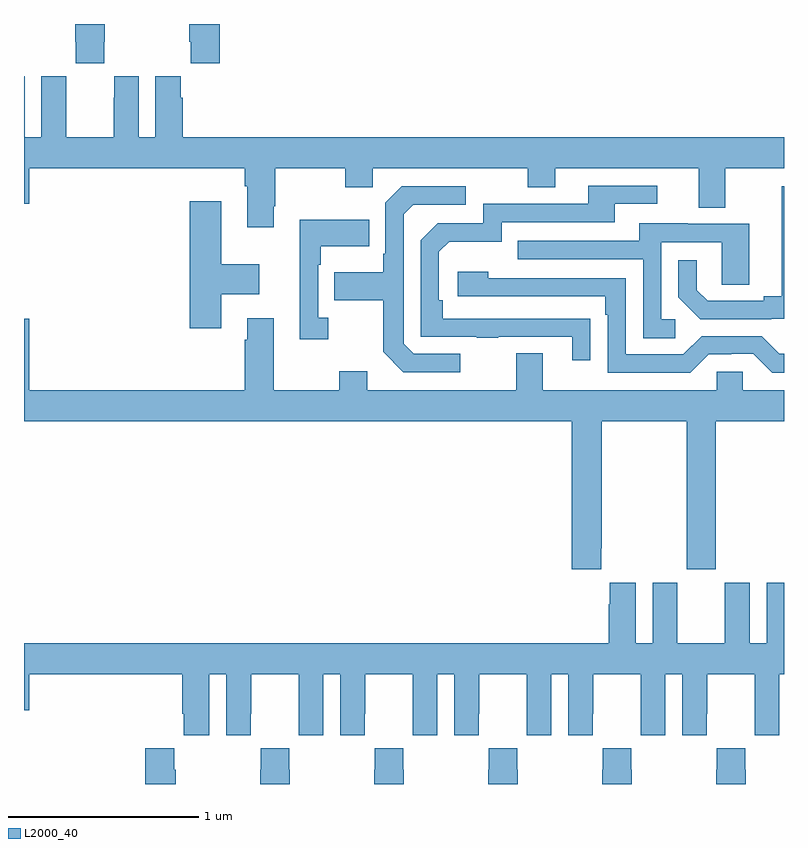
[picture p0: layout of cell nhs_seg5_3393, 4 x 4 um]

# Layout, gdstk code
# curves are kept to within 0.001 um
import gdstk
lib = gdstk.Library(unit=1e-6, precision=1e-09)
def P(c, l, *ps):  # polygons
    for p in ps: c.add(gdstk.Polygon(p, *l))
L2000_40 = (2000, 40)

nhs_seg5_3393 = lib.new_cell('nhs_seg5_3393')
P(nhs_seg5_3393, L2000_40, [(309.423,910.705),(309.426,910.705),(309.426,910.799),(309.271,910.799),(309.271,910.705),(309.273,910.705),(309.273,910.593),(309.423,910.593)],
  [(310.031,910.799),(309.871,910.799),(309.871,910.705),(309.877,910.705),(309.877,910.593),(310.031,910.593)],
  [(310.315,909.841),(310.323,909.841),(310.323,910.04),(310.69,910.04),(310.69,909.941),(310.836,909.941),(310.836,910.04),(311.65,910.04),(311.65,909.941),(311.797,909.941),(311.797,910.04),(312.551,910.04),(312.551,909.832),(312.691,909.832),(312.691,910.04),(313,910.04),(313,910.204),(309.836,910.204),(309.836,910.412),(309.826,910.412),(309.826,910.525),(309.692,910.525),(309.692,910.204),(309.604,910.204),(309.604,910.525),(309.474,910.525),(309.474,910.412),(309.473,910.412),(309.473,910.204),(309.223,910.204),(309.223,910.412),(309.222,910.412),(309.222,910.525),(309.092,910.525),(309.092,910.204),(309.004,910.204),(309.004,910.525),(309,910.525),(309,909.852),(309.028,909.852),(309.028,910.04),(310.163,910.04),(310.163,909.944),(310.175,909.944),(310.175,909.729),(310.315,909.729)],
  [(311.981,909.248),(311.204,909.249),(311.204,909.346),(311.184,909.346),(311.184,909.6),(311.237,909.653),(311.514,909.653),(311.514,909.756),(312.109,909.756),(312.109,909.852),(312.334,909.852),(312.334,909.948),(311.969,909.948),(311.969,909.852),(311.418,909.852),(311.418,909.75),(311.178,909.75),(311.088,909.66),(311.088,909.153),(311.383,909.153),(311.383,909.148),(311.495,909.148),(311.495,909.153),(311.885,909.153),(311.885,909.03),(311.981,909.03)],
  [(311.296,909.063),(311.052,909.063),(310.998,909.117),(310.998,909.798),(311.049,909.849),(311.326,909.849),(311.326,909.945),(310.989,909.945),(310.902,909.858),(310.902,909.589),(310.89,909.589),(310.89,909.493),(310.633,909.493),(310.633,909.346),(310.89,909.346),(310.89,909.073),(310.995,908.967),(311.296,908.967)],
  [(312.932,909.249),(313,909.249),(313,909.945),(312.989,909.945),(312.989,909.365),(312.893,909.365),(312.893,909.342),(312.598,909.342),(312.541,909.399),(312.541,909.556),(312.444,909.556),(312.444,909.362),(312.56,909.246),(312.932,909.246)],
  [(310.039,909.377),(310.237,909.377),(310.237,909.535),(310.039,909.535),(310.039,909.865),(309.872,909.865),(309.872,909.198),(310.039,909.198)],
  [(310.6,909.254),(310.548,909.254),(310.548,909.533),(310.561,909.533),(310.561,909.629),(310.817,909.629),(310.817,909.769),(310.451,909.769),(310.451,909.141),(310.6,909.141)],
  [(312.427,909.246),(312.354,909.246),(312.354,909.651),(312.672,909.651),(312.672,909.427),(312.817,909.427),(312.817,909.747),(312.493,909.747),(312.493,909.751),(312.239,909.751),(312.239,909.657),(311.599,909.657),(311.599,909.561),(312.258,909.561),(312.258,909.145),(312.427,909.145)],
  [(313,909.063),(312.975,909.063),(312.882,909.156),(312.567,909.156),(312.471,909.06),(312.168,909.06),(312.168,909.462),(311.444,909.462),(311.444,909.496),(311.283,909.496),(311.283,909.366),(312.059,909.366),(312.059,909.269),(312.072,909.269),(312.072,908.964),(312.507,908.964),(312.603,909.06),(312.722,909.06),(312.722,909.063),(312.837,909.063),(312.937,908.963),(313,908.963)],
  [(312.037,908.041),(312.042,908.041),(312.042,908.708),(312.487,908.708),(312.487,907.929),(312.642,907.929),(312.642,908.708),(313,908.708),(313,908.872),(312.783,908.872),(312.783,908.97),(312.645,908.97),(312.645,908.872),(311.731,908.872),(311.731,909.067),(311.591,909.067),(311.591,908.872),(310.807,908.872),(310.807,908.971),(310.66,908.971),(310.66,908.872),(310.315,908.872),(310.315,909.25),(310.175,909.25),(310.175,909.137),(310.163,909.137),(310.163,908.872),(309.028,908.872),(309.028,909.247),(309,909.247),(309,908.708),(311.882,908.708),(311.882,907.929),(312.037,907.929)],
  [(309,907.188),(309.028,907.188),(309.028,907.376),(309.833,907.376),(309.833,907.168),(309.842,907.168),(309.842,907.056),(309.976,907.056),(309.976,907.376),(310.064,907.376),(310.064,907.056),(310.194,907.056),(310.194,907.168),(310.195,907.168),(310.195,907.376),(310.445,907.376),(310.445,907.168),(310.446,907.168),(310.446,907.056),(310.576,907.056),(310.576,907.376),(310.664,907.376),(310.664,907.056),(310.794,907.056),(310.794,907.168),(310.795,907.168),(310.795,907.376),(311.045,907.376),(311.045,907.168),(311.046,907.168),(311.046,907.056),(311.176,907.056),(311.176,907.376),(311.264,907.376),(311.264,907.056),(311.394,907.056),(311.394,907.168),(311.395,907.168),(311.395,907.376),(311.645,907.376),(311.645,907.168),(311.646,907.168),(311.646,907.056),(311.776,907.056),(311.776,907.376),(311.864,907.376),(311.864,907.056),(311.994,907.056),(311.994,907.168),(311.995,907.168),(311.995,907.376),(312.245,907.376),(312.245,907.168),(312.246,907.168),(312.246,907.056),(312.376,907.056),(312.376,907.376),(312.464,907.376),(312.464,907.056),(312.594,907.056),(312.594,907.168),(312.595,907.168),(312.595,907.376),(312.845,907.376),(312.845,907.168),(312.846,907.168),(312.846,907.056),(312.976,907.056),(312.976,907.376),(313,907.376),(313,907.858),(312.908,907.858),(312.908,907.54),(312.82,907.54),(312.82,907.858),(312.689,907.858),(312.689,907.54),(312.439,907.54),(312.439,907.858),(312.308,907.858),(312.308,907.54),(312.22,907.54),(312.22,907.858),(312.083,907.858),(312.083,907.745),(312.077,907.745),(312.077,907.54),(309,907.54)],
  [(312.798,906.875),(312.795,906.875),(312.795,906.988),(312.645,906.988),(312.645,906.875),(312.643,906.875),(312.643,906.799),(312.798,906.799)],
  [(312.198,906.875),(312.195,906.875),(312.195,906.988),(312.045,906.988),(312.045,906.875),(312.043,906.875),(312.043,906.799),(312.198,906.799)],
  [(311.598,906.875),(311.595,906.875),(311.595,906.988),(311.445,906.988),(311.445,906.875),(311.443,906.875),(311.443,906.799),(311.598,906.799)],
  [(310.998,906.875),(310.995,906.875),(310.995,906.988),(310.845,906.988),(310.845,906.875),(310.843,906.875),(310.843,906.799),(310.998,906.799)],
  [(309.798,906.875),(309.791,906.875),(309.791,906.988),(309.638,906.988),(309.638,906.799),(309.798,906.799)],
  [(310.398,906.875),(310.395,906.875),(310.395,906.988),(310.245,906.988),(310.245,906.875),(310.243,906.875),(310.243,906.799),(310.398,906.799)])

lib.write_gds('nhs_seg5_3393.gds')
